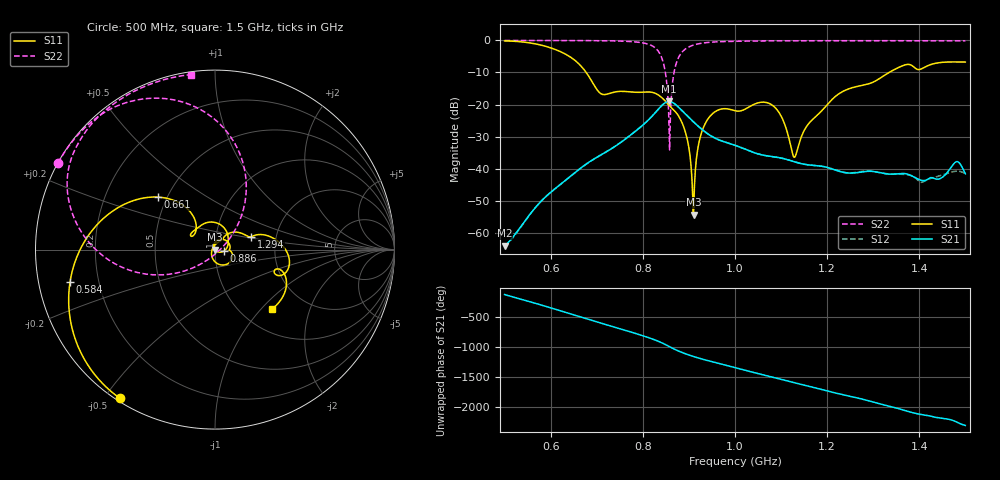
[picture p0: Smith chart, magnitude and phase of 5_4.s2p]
! TOUCHSTONE file generated by CST MICROWAVE STUDIO
! Date and time: Fri Oct  2 16:54:19 2020
! Project name: Scenario_1_Free_Space_out_of_line.cst
! Parameters = {Lambda=346.42; Step_1=17.321; dy1=278.276; dx1=693; L_HA=400; MT=2.54; Rad_Dielectric=30; Rad_Lower=7.3; Rad_Upper=30; a_HA=580; a_WG=246; b_HA=500; b_WG=121; c_HA=0; c_WG=187; d_feed=85; h_feed=15; h_lower=18; h_upper=40}
! Header version: 2018
! Port assignment regex: !\s*Touchstone port\s*([0-9]+)\s*=\s*(CST MWS port|CST DS port)\s*([0-9]+|Zmin|Zmax)\s*\(\"(.*)\"\)(\s*mode\s*([0-9]+))?.*
! Touchstone port assignment:
! Touchstone port 1 = CST MWS port 1 ("")
! Touchstone port 2 = CST MWS port 2 ("")
# GHz S DB R 50
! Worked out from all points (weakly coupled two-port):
!   1003 points, 500 MHz to 1.5 GHz, reference 50 ohm
!   highest |S21| = -19.05 dB at 857 MHz (marker M1); lowest = -64.1 dB at 500 MHz (marker M2)
!   lowest |S11| = -54.3 dB at 910 MHz (marker M3), VSWR 1.00, Z = 49.8 - j0.0375 ohm
!   |S11| at or under -10 dB: 677 MHz to 1.334 GHz (657.4 MHz wide, 65.4 % of centre)
!   |S22| runs from -34.2 to 0.0 dB; largest |S21 - S12| = 0.0048
!   S11 on the Smith chart (normalised r, x): 500 MHz: 0.01, -0.55; 584 MHz: 0.10, -0.11; 661 MHz: 0.45, +0.32; 886 MHz: 1.10, -0.02; 1.294 GHz: 1.49, +0.23; 1.5 GHz: 1.38, -1.16
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0.5  -0.15 -122.5  -64.09 -135.7  -64.21 -135.8  -0.01 151.1
0.584  -1.64 -167.3  -49.51 40.9  -49.45 40.1  -0.02 145.3
0.661  -7.29 137.4  -40.29 -135.6  -40.34 -134.5  -0.04 138.9
0.667  -8.19 133.0  -39.63 -149.6  -39.67 -148.6  -0.04 138.3
0.712  -16.82 139.9  -35.49 106.0  -35.52 105.8  -0.09 133.3
0.789  -16.19 128.6  -27.76 -69.1  -27.73 -69.1  -0.54 117.4
0.834  -17.05 76.0  -21.40 171.9  -21.40 171.9  -3.45 85.3
0.847  -18.67 55.2  -19.59 126.3  -19.59 126.3  -8.52 62.3
0.857  -20.25 40.7  -19.05 86.9  -19.05 86.9  -27.86 15.3
0.869  -21.99 23.2  -19.79 40.6  -19.78 40.6  -9.07 -156.4
0.886  -26.01 -9.4  -22.05 -14.8  -22.06 -14.8  -3.50 179.7
0.898  -31.96 -35.0  -23.77 -48.2  -23.77 -48.2  -2.17 169.8
0.91  -54.33 -168.7  -25.43 -78.5  -25.43 -78.5  -1.44 162.9
0.922  -31.69 105.7  -27.00 -106.3  -27.00 -106.3  -1.01 157.7
0.937  -25.50 76.3  -28.75 -138.1  -28.75 -138.0  -0.69 152.6
1  -21.94 -0.7  -32.72 98.1  -32.73 98.2  -0.27 140.3
1.082  -20.32 -63.0  -36.28 -58.4  -36.29 -58.5  -0.14 131.3
1.129  -36.48 154.0  -37.87 -151.4  -37.86 -151.3  -0.11 127.3
1.167  -24.85 57.7  -38.96 139.0  -38.94 139.0  -0.10 124.2
1.294  -13.35 19.7  -40.83 -97.9  -40.77 -99.3  -0.09 114.6
1.334  -10.03 13.3  -41.71 -177.5  -41.64 -177.5  -0.09 111.5
1.5  -6.75 -46.0  -41.62 -136.4  -41.60 -136.3  -0.14 97.9
